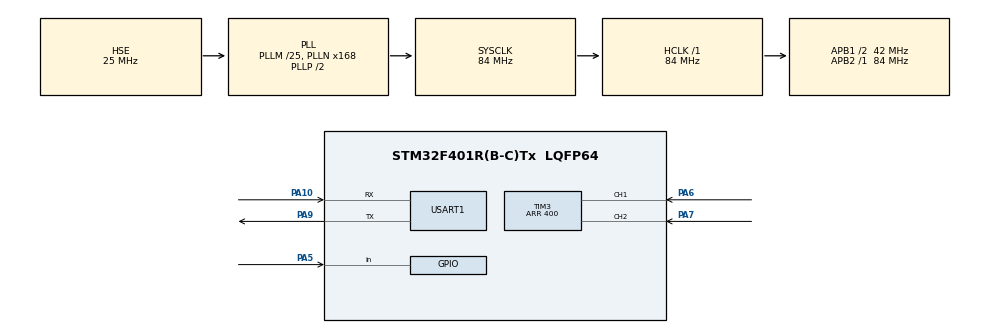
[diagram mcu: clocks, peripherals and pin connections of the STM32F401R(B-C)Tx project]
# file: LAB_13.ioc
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Mcu.Family=STM32F4
Mcu.Name=STM32F401R(B-C)Tx
Mcu.Package=LQFP64
NVIC.PriorityGroup=NVIC_PRIORITYGROUP_4
PA10.Mode=Asynchronous
PA10.Signal=USART1_RX
PA5.GPIO_PuPd=GPIO_PULLUP
PA5.Signal=GPIO_Input
PA6.Signal=S_TIM3_CH1
PA7.Signal=S_TIM3_CH2
PA9.Mode=Asynchronous
PA9.Signal=USART1_TX
PH0\ -\ OSC_IN.Mode=HSE-External-Oscillator
PH0\ -\ OSC_IN.Signal=RCC_OSC_IN
PH1\ -\ OSC_OUT.Mode=HSE-External-Oscillator
PH1\ -\ OSC_OUT.Signal=RCC_OSC_OUT
ProjectManager.HeapSize=0x200
ProjectManager.StackSize=0x400
ProjectManager.TargetToolchain=STM32CubeIDE
RCC.48MHZClocksFreq_Value=42000000
RCC.AHBFreq_Value=84000000
RCC.APB1CLKDivider=RCC_HCLK_DIV2
RCC.APB1Freq_Value=42000000
RCC.APB1TimFreq_Value=84000000
RCC.APB2Freq_Value=84000000
RCC.APB2TimFreq_Value=84000000
RCC.CortexFreq_Value=84000000
RCC.HCLKFreq_Value=84000000
RCC.HSE_VALUE=25000000
RCC.HSI_VALUE=16000000
RCC.LSE_VALUE=32768
RCC.PLLM=25
RCC.PLLN=168
RCC.PLLSourceVirtual=RCC_PLLSOURCE_HSE
RCC.SYSCLKFreq_VALUE=84000000
RCC.SYSCLKSource=RCC_SYSCLKSOURCE_PLLCLK
RCC.VCOOutputFreq_Value=168000000
SH.S_TIM3_CH1.0=TIM3_CH1,Encoder_Interface
SH.S_TIM3_CH2.0=TIM3_CH2,Encoder_Interface
TIM3.AutoReloadPreload=TIM_AUTORELOAD_PRELOAD_ENABLE
TIM3.EncoderMode=TIM_ENCODERMODE_TI12
TIM3.IC1Filter=10
TIM3.IC2Filter=10
TIM3.Period=400
USART1.VirtualMode=VM_ASYNC
board=custom

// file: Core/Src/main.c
/* USER CODE BEGIN Header */
/**
  ******************************************************************************
  * @file           : main.c
  * @brief          : Main program body
  ******************************************************************************
  * @attention
  *
  * Copyright (c) 2024 STMicroelectronics.
  * All rights reserved.
  *
  * This software is licensed under terms that can be found in the LICENSE file
  * in the root directory of this software component.
  * If no LICENSE file comes with this software, it is provided AS-IS.
  *
  ******************************************************************************
  */
/* USER CODE END Header */
#include "main.h"

/* USER CODE BEGIN Includes */
#include <stdio.h>
#include <string.h>

#include "rotary_encoder.h"
/* USER CODE END Includes */

TIM_HandleTypeDef htim3;

UART_HandleTypeDef huart1;

/* USER CODE BEGIN PV */
static RotaryEncoder renc = ROTARY_ENCODER(TIM3);
/* USER CODE END PV */

void SystemClock_Config(void);
static void MX_GPIO_Init(void);
static void MX_TIM3_Init(void);
static void MX_USART1_UART_Init(void);

/* USER CODE BEGIN 0 */
// to get printf() work
int __io_putchar(int ch)
{
  if (ch == '\n') {
    static uint8_t cr = '\r';
    HAL_UART_Transmit(&huart1, &cr, 1, 1);
  }
  HAL_UART_Transmit(&huart1, (uint8_t *)&ch, 1, 1);
  return ch;
}

static void value_changed_handler(uint32_t val)
{
  val >>= 1;
  val = val * 1000 / (TIM3->ARR / 2);
  printf("encoder value: %lu\n", val);
}
/* USER CODE END 0 */

int main(void)
{

  /* MCU Configuration--------------------------------------------------------*/

  /* Reset of all peripherals, Initializes the Flash interface and the Systick. */
  HAL_Init();

  /* Configure the system clock */
  SystemClock_Config();

  /* Initialize all configured peripherals */
  MX_GPIO_Init();
  MX_TIM3_Init();
  MX_USART1_UART_Init();
  /* USER CODE BEGIN 2 */
  HAL_TIM_Encoder_Start(&htim3, TIM_CHANNEL_ALL);
  /* USER CODE END 2 */

  /* Infinite loop */
  /* USER CODE BEGIN WHILE */
  renc.value_changed_handler = &value_changed_handler;

  while (1)
  {
    RotaryEncoderGetValue(&renc);
    /* USER CODE END WHILE */

  }
}

void SystemClock_Config(void)
{
  RCC_OscInitTypeDef RCC_OscInitStruct = {0};
  RCC_ClkInitTypeDef RCC_ClkInitStruct = {0};

  /** Configure the main internal regulator output voltage
  */
  __HAL_RCC_PWR_CLK_ENABLE();
  __HAL_PWR_VOLTAGESCALING_CONFIG(PWR_REGULATOR_VOLTAGE_SCALE2);

  /** Initializes the RCC Oscillators according to the specified parameters
  * in the RCC_OscInitTypeDef structure.
  */
  RCC_OscInitStruct.OscillatorType = RCC_OSCILLATORTYPE_HSE;
  RCC_OscInitStruct.HSEState = RCC_HSE_ON;
  RCC_OscInitStruct.PLL.PLLState = RCC_PLL_ON;
  RCC_OscInitStruct.PLL.PLLSource = RCC_PLLSOURCE_HSE;
  RCC_OscInitStruct.PLL.PLLM = 25;
  RCC_OscInitStruct.PLL.PLLN = 168;
  RCC_OscInitStruct.PLL.PLLP = RCC_PLLP_DIV2;
  RCC_OscInitStruct.PLL.PLLQ = 4;
  if (HAL_RCC_OscConfig(&RCC_OscInitStruct) != HAL_OK)
  {
    Error_Handler();
  }

  /** Initializes the CPU, AHB and APB buses clocks
  */
  RCC_ClkInitStruct.ClockType = RCC_CLOCKTYPE_HCLK|RCC_CLOCKTYPE_SYSCLK
                              |RCC_CLOCKTYPE_PCLK1|RCC_CLOCKTYPE_PCLK2;
  RCC_ClkInitStruct.SYSCLKSource = RCC_SYSCLKSOURCE_PLLCLK;
  RCC_ClkInitStruct.AHBCLKDivider = RCC_SYSCLK_DIV1;
  RCC_ClkInitStruct.APB1CLKDivider = RCC_HCLK_DIV2;
  RCC_ClkInitStruct.APB2CLKDivider = RCC_HCLK_DIV1;

  if (HAL_RCC_ClockConfig(&RCC_ClkInitStruct, FLASH_LATENCY_2) != HAL_OK)
  {
    Error_Handler();
  }
}

static void MX_TIM3_Init(void)
{

  TIM_Encoder_InitTypeDef sConfig = {0};
  TIM_MasterConfigTypeDef sMasterConfig = {0};

  htim3.Instance = TIM3;
  htim3.Init.Prescaler = 0;
  htim3.Init.CounterMode = TIM_COUNTERMODE_UP;
  htim3.Init.Period = 400;
  htim3.Init.ClockDivision = TIM_CLOCKDIVISION_DIV1;
  htim3.Init.AutoReloadPreload = TIM_AUTORELOAD_PRELOAD_ENABLE;
  sConfig.EncoderMode = TIM_ENCODERMODE_TI12;
  sConfig.IC1Polarity = TIM_ICPOLARITY_RISING;
  sConfig.IC1Selection = TIM_ICSELECTION_DIRECTTI;
  sConfig.IC1Prescaler = TIM_ICPSC_DIV1;
  sConfig.IC1Filter = 10;
  sConfig.IC2Polarity = TIM_ICPOLARITY_RISING;
  sConfig.IC2Selection = TIM_ICSELECTION_DIRECTTI;
  sConfig.IC2Prescaler = TIM_ICPSC_DIV1;
  sConfig.IC2Filter = 10;
  if (HAL_TIM_Encoder_Init(&htim3, &sConfig) != HAL_OK)
  {
    Error_Handler();
  }
  sMasterConfig.MasterOutputTrigger = TIM_TRGO_RESET;
  sMasterConfig.MasterSlaveMode = TIM_MASTERSLAVEMODE_DISABLE;
  if (HAL_TIMEx_MasterConfigSynchronization(&htim3, &sMasterConfig) != HAL_OK)
  {
    Error_Handler();
  }

}

static void MX_USART1_UART_Init(void)
{

  huart1.Instance = USART1;
  huart1.Init.BaudRate = 115200;
  huart1.Init.WordLength = UART_WORDLENGTH_8B;
  huart1.Init.StopBits = UART_STOPBITS_1;
  huart1.Init.Parity = UART_PARITY_NONE;
  huart1.Init.Mode = UART_MODE_TX_RX;
  huart1.Init.HwFlowCtl = UART_HWCONTROL_NONE;
  huart1.Init.OverSampling = UART_OVERSAMPLING_16;
  if (HAL_UART_Init(&huart1) != HAL_OK)
  {
    Error_Handler();
  }

}

static void MX_GPIO_Init(void)
{
  GPIO_InitTypeDef GPIO_InitStruct = {0};

  /* GPIO Ports Clock Enable */
  __HAL_RCC_GPIOH_CLK_ENABLE();
  __HAL_RCC_GPIOA_CLK_ENABLE();

  /*Configure GPIO pin : PA5 */
  GPIO_InitStruct.Pin = GPIO_PIN_5;
  GPIO_InitStruct.Mode = GPIO_MODE_INPUT;
  GPIO_InitStruct.Pull = GPIO_PULLUP;
  HAL_GPIO_Init(GPIOA, &GPIO_InitStruct);

}

void Error_Handler(void)
{
  __disable_irq();
  while (1)
  {
  }
}
